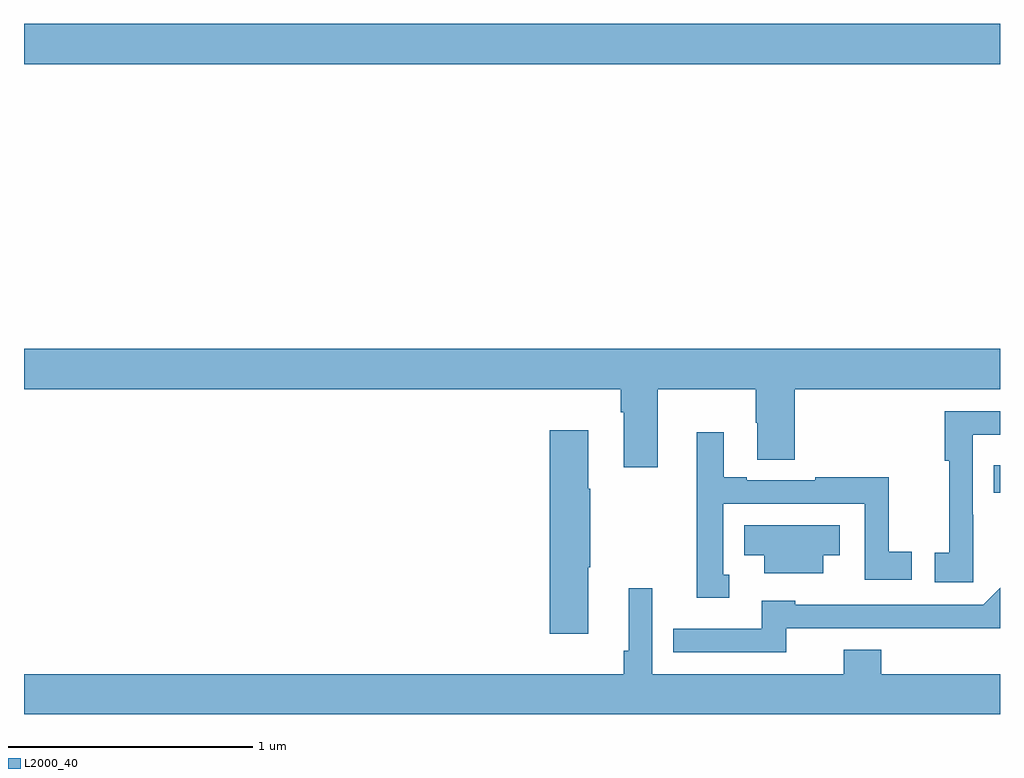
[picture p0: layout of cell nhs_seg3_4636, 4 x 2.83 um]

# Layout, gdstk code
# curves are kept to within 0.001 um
import gdstk
lib = gdstk.Library(unit=1e-6, precision=1e-09)
def R(c, l, rs):  # rectangles x0, y0, x1, y1
    for r in rs: c.add(gdstk.rectangle(r[:2], r[2:], *l))
def P(c, l, *ps):  # polygons
    for p in ps: c.add(gdstk.Polygon(p, *l))
L2000_40 = (2000, 40)

nhs_seg3_4636 = lib.new_cell('nhs_seg3_4636')
R(nhs_seg3_4636, L2000_40, [(362.974,725.798,363,725.911), (359,727.556,363,727.72)])
P(nhs_seg3_4636, L2000_40, [(361.597,726.224),(361.999,726.224),(361.999,726.086),(362.006,726.086),(362.006,725.935),(362.159,725.935),(362.159,726.224),(363,726.224),(363,726.388),(359,726.388),(359,726.224),(361.445,726.224),(361.445,726.128),(361.457,726.128),(361.457,725.904),(361.597,725.904)],
  [(362.89,725.708),(362.889,725.708),(362.889,726.036),(363,726.036),(363,726.132),(362.773,726.132),(362.773,725.929),(362.791,725.929),(362.791,725.553),(362.733,725.553),(362.733,725.433),(362.89,725.433)],
  [(361.312,725.494),(361.32,725.494),(361.32,725.816),(361.312,725.816),(361.312,726.055),(361.154,726.055),(361.154,725.22),(361.312,725.22)],
  [(361.891,725.463),(361.866,725.463),(361.866,725.754),(362.445,725.754),(362.445,725.442),(362.638,725.442),(362.638,725.558),(362.544,725.558),(362.544,725.863),(362.242,725.863),(362.242,725.85),(361.963,725.85),(361.963,725.863),(361.867,725.863),(361.867,726.046),(361.757,726.046),(361.757,725.801),(361.758,725.801),(361.758,725.369),(361.891,725.369)],
  [(362.275,725.543),(362.344,725.543),(362.344,725.665),(361.951,725.665),(361.951,725.543),(362.033,725.543),(362.033,725.468),(362.275,725.468)],
  [(362.124,725.244),(363,725.243),(363,725.409),(362.931,725.34),(362.16,725.34),(362.16,725.356),(362.024,725.356),(362.024,725.241),(361.66,725.241),(361.66,725.145),(362.124,725.145)],
  [(363,725.056),(362.513,725.056),(362.513,725.155),(362.36,725.155),(362.36,725.056),(361.575,725.056),(361.575,725.407),(361.478,725.407),(361.478,725.152),(361.459,725.152),(361.459,725.056),(359,725.056),(359,724.892),(363,724.892)])

lib.write_gds('nhs_seg3_4636.gds')
